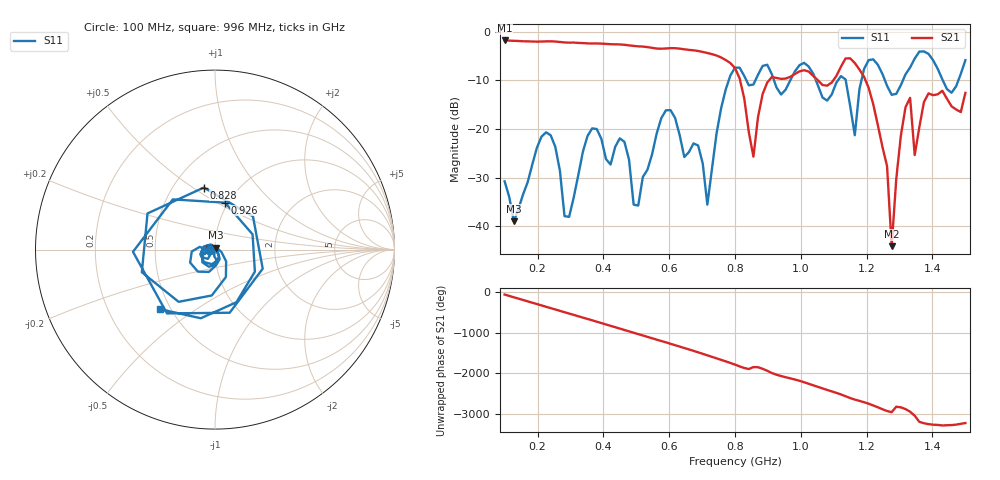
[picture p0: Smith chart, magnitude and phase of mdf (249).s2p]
! NanoVNA-App
! Date: 2025-09-25 15:40:22
! Start: 100MHz Stop: 1,5GHz Points: 101
! S-Parameter data: F S11 S21 S12 S22
# Hz S RI R 50
!  Frequency  S11_Real  S11_Imag  S21_Real  S21_Imag  S12_Real  S12_Imag  S22_Real  S22_Imag
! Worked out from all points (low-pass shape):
!   101 points, 100 MHz to 1.5 GHz, reference 50 ohm
!   highest |S21| = -1.80 dB at 100 MHz (marker M1); lowest = -44.1 dB at 1.276 GHz (marker M2)
!   |S21| within 3 dB of the highest: start of sweep to 739.1 MHz
!   lowest |S11| = -39.0 dB at 128 MHz (marker M3), VSWR 1.02, Z = 50.3 + j1.08 ohm
!   |S11| at or under -10 dB: start of sweep to 781.1 MHz; 1.046 GHz to 1.113 GHz (67.16 MHz wide, 6.22 % of centre); 1.256 GHz to 1.31 GHz (54.71 MHz wide, 4.26 % of centre) (the widest 3 of 7)
!   S12 and S22 are empty: the file has one direction only
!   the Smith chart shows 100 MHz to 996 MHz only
!   S11 on the Smith chart (normalised r, x): 100 MHz: 0.94, -0.01; 828 MHz: 0.70, +0.55; 926 MHz: 0.97, +0.55; 996 MHz: 0.44, -0.36
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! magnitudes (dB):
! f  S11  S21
! 100 MHz  -30.8  -1.8
! 128 MHz  -39.0  -1.9
! 212 MHz  -21.6  -2.0
! 282 MHz  -37.9  -2.2
! 338 MHz  -24.6  -2.3
! 464 MHz  -22.6  -2.7
! 506 MHz  -35.8  -3.0
! 576 MHz  -17.8  -3.5
! 716 MHz  -35.6  -4.4
! 800 MHz  -7.4  -7.5
! 828 MHz  -9.1  -13.7
! 856 MHz  -10.9  -25.7
! 926 MHz  -11.5  -9.5
! 996 MHz  -6.9  -8.2
! 1.038 GHz  -8.7  -9.1
! 1.164 GHz  -21.3  -6.4
! 1.192 GHz  -7.7  -9.3
! 1.262 GHz  -11.1  -27.6
! 1.276 GHz  -13.0  -44.1
! 1.318 GHz  -8.8  -15.5
! 1.346 GHz  -5.5  -25.4
! 1.5 GHz  -5.9  -12.6
